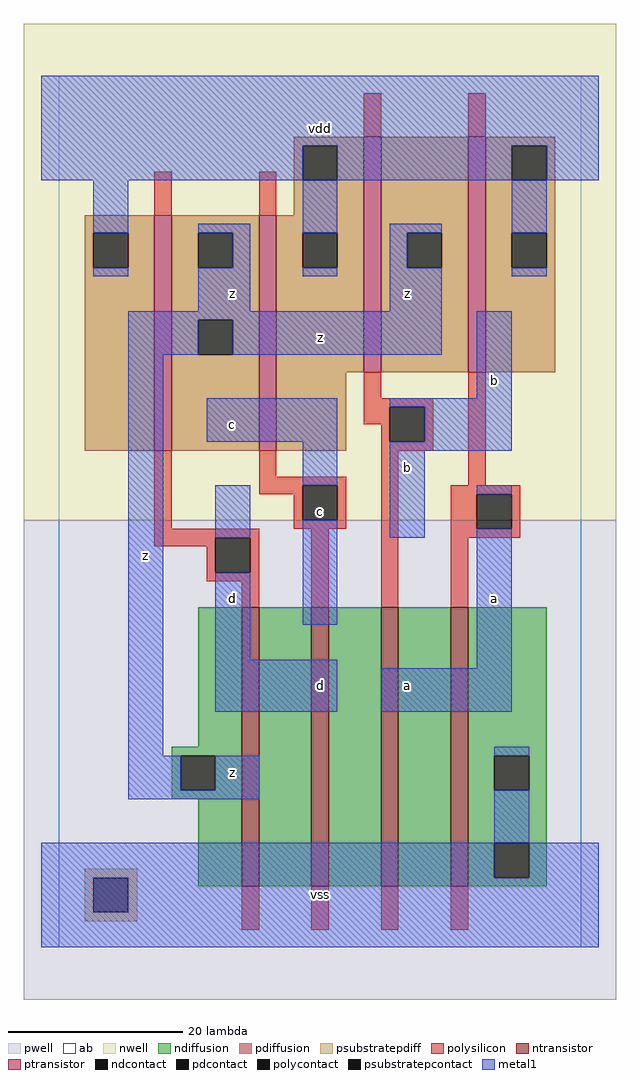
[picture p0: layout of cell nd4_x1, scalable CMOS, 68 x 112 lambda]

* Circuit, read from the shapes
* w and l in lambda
.subckt nd4_x1 a b c d vdd vss z
M1 n1 d z vss nfet w=32 l=2
M2 n2 c n1 vss nfet w=32 l=2
M3 n3 b n2 vss nfet w=32 l=2
M4 vss a n3 vss nfet w=32 l=2
M5 z d vdd n4 pfet w=27 l=2
M6 vdd c z n4 pfet w=27 l=2
M7 z b vdd n4 pfet w=27 l=2
M8 vdd a z n4 pfet w=27 l=2
.ends

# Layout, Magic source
magic
tech scmos
<< ab >>
rect 0 0 60 100
<< pwell >>
rect -4 -6 64 49
<< nwell >>
rect -4 49 64 106
<< polysilicon >>
rect 35 93 37 98
rect 47 93 49 98
rect 11 84 13 89
rect 23 84 25 89
rect 35 63 37 66
rect 35 62 43 63
rect 35 60 38 62
rect 37 58 38 60
rect 42 58 43 62
rect 37 57 43 58
rect 11 48 13 57
rect 23 54 25 57
rect 23 53 33 54
rect 23 52 28 53
rect 27 49 28 52
rect 32 49 33 53
rect 27 48 33 49
rect 11 47 23 48
rect 11 46 18 47
rect 17 43 18 46
rect 22 43 23 47
rect 17 42 23 43
rect 21 39 23 42
rect 29 39 31 48
rect 37 39 39 57
rect 47 53 49 66
rect 45 52 53 53
rect 45 48 48 52
rect 52 48 53 52
rect 45 47 53 48
rect 45 39 47 47
rect 21 2 23 7
rect 29 2 31 7
rect 37 2 39 7
rect 45 2 47 7
<< ndiffusion >>
rect 16 23 21 39
rect 13 22 21 23
rect 13 18 14 22
rect 18 18 21 22
rect 13 17 21 18
rect 16 7 21 17
rect 23 7 29 39
rect 31 7 37 39
rect 39 7 45 39
rect 47 22 56 39
rect 47 18 50 22
rect 54 18 56 22
rect 47 12 56 18
rect 47 8 50 12
rect 54 8 56 12
rect 47 7 56 8
<< pdiffusion >>
rect 27 92 35 93
rect 27 88 28 92
rect 32 88 35 92
rect 27 84 35 88
rect 3 82 11 84
rect 3 78 4 82
rect 8 78 11 82
rect 3 57 11 78
rect 13 82 23 84
rect 13 78 16 82
rect 20 78 23 82
rect 13 72 23 78
rect 13 68 16 72
rect 20 68 23 72
rect 13 57 23 68
rect 25 82 35 84
rect 25 78 28 82
rect 32 78 35 82
rect 25 66 35 78
rect 37 82 47 93
rect 37 78 40 82
rect 44 78 47 82
rect 37 66 47 78
rect 49 92 57 93
rect 49 88 52 92
rect 56 88 57 92
rect 49 82 57 88
rect 49 78 52 82
rect 56 78 57 82
rect 49 66 57 78
rect 25 57 33 66
<< metal1 >>
rect -2 92 62 100
rect -2 88 28 92
rect 32 88 52 92
rect 56 88 62 92
rect 4 82 8 88
rect 4 77 8 78
rect 16 82 22 83
rect 20 78 22 82
rect 16 73 22 78
rect 28 82 32 88
rect 28 77 32 78
rect 38 82 44 83
rect 38 78 40 82
rect 38 73 44 78
rect 52 82 56 88
rect 52 77 56 78
rect 8 72 44 73
rect 8 68 16 72
rect 20 68 44 72
rect 8 22 12 68
rect 48 63 52 73
rect 17 58 32 63
rect 28 53 32 58
rect 18 47 22 53
rect 18 33 22 43
rect 28 37 32 49
rect 38 62 52 63
rect 42 58 52 62
rect 38 57 52 58
rect 38 47 42 57
rect 48 52 52 53
rect 18 27 32 33
rect 48 32 52 48
rect 37 27 52 32
rect 50 22 54 23
rect 8 18 14 22
rect 18 18 23 22
rect 8 17 23 18
rect 50 12 54 18
rect -2 8 50 12
rect 54 8 62 12
rect -2 0 62 8
<< ntransistor >>
rect 21 7 23 39
rect 29 7 31 39
rect 37 7 39 39
rect 45 7 47 39
<< ptransistor >>
rect 11 57 13 84
rect 23 57 25 84
rect 35 66 37 93
rect 47 66 49 93
<< polycontact >>
rect 38 58 42 62
rect 28 49 32 53
rect 18 43 22 47
rect 48 48 52 52
<< ndcontact >>
rect 14 18 18 22
rect 50 18 54 22
rect 50 8 54 12
<< pdcontact >>
rect 28 88 32 92
rect 4 78 8 82
rect 16 78 20 82
rect 16 68 20 72
rect 28 78 32 82
rect 40 78 44 82
rect 52 88 56 92
rect 52 78 56 82
<< psubstratepcontact >>
rect 4 4 8 8
<< psubstratepdiff >>
rect 3 8 9 9
rect 3 4 4 8
rect 8 4 9 8
rect 3 3 9 4
<< labels >>
rlabel metal1 20 20 20 20 6 z
rlabel metal1 20 20 20 20 6 z
rlabel metal1 20 40 20 40 6 d
rlabel metal1 20 40 20 40 6 d
rlabel metal1 10 45 10 45 6 z
rlabel metal1 10 45 10 45 6 z
rlabel metal1 20 60 20 60 6 c
rlabel metal1 20 60 20 60 6 c
rlabel metal1 20 75 20 75 6 z
rlabel metal1 20 75 20 75 6 z
rlabel metal1 30 6 30 6 6 vss
rlabel metal1 30 6 30 6 6 vss
rlabel metal1 30 30 30 30 6 d
rlabel metal1 30 30 30 30 6 d
rlabel polycontact 30 50 30 50 6 c
rlabel polycontact 30 50 30 50 6 c
rlabel metal1 30 70 30 70 6 z
rlabel metal1 30 70 30 70 6 z
rlabel metal1 30 94 30 94 6 vdd
rlabel metal1 30 94 30 94 6 vdd
rlabel metal1 40 30 40 30 6 a
rlabel metal1 40 30 40 30 6 a
rlabel metal1 40 55 40 55 6 b
rlabel metal1 40 55 40 55 6 b
rlabel metal1 40 75 40 75 6 z
rlabel metal1 40 75 40 75 6 z
rlabel metal1 50 40 50 40 6 a
rlabel metal1 50 40 50 40 6 a
rlabel metal1 50 65 50 65 6 b
rlabel metal1 50 65 50 65 6 b
<< end >>
